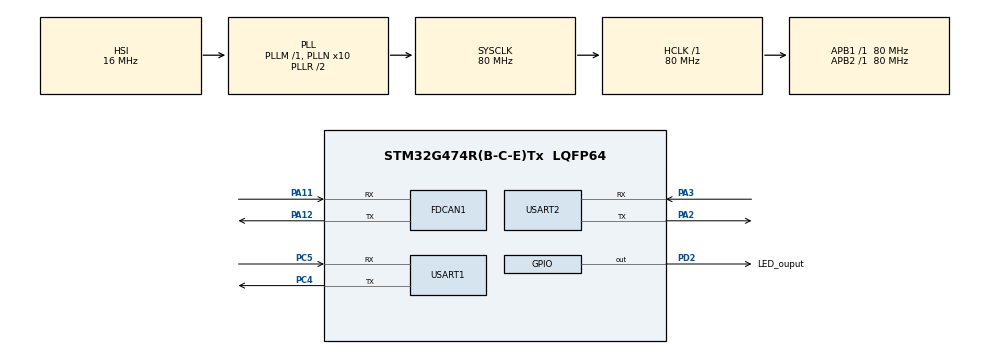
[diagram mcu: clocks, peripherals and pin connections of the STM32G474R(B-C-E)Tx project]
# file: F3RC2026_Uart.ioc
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FDCAN1.CalculateBaudRateNominal=1000000
FDCAN1.CalculateTimeBitNominal=1000
FDCAN1.CalculateTimeQuantumNominal=50.0
FDCAN1.DataPrescaler=2
FDCAN1.DataTimeSeg1=15
FDCAN1.DataTimeSeg2=4
FDCAN1.FrameFormat=FDCAN_FRAME_FD_BRS
FDCAN1.NominalPrescaler=4
FDCAN1.NominalTimeSeg1=15
FDCAN1.NominalTimeSeg2=4
FDCAN1.StdFiltersNbr=1
Mcu.Family=STM32G4
Mcu.Name=STM32G474R(B-C-E)Tx
Mcu.Package=LQFP64
NVIC.PriorityGroup=NVIC_PRIORITYGROUP_4
NVIC.TIM1_TRG_COM_TIM17_IRQn=true\:0\:0\:false\:false\:true\:true\:true\:true
NVIC.TIM1_UP_TIM16_IRQn=true\:0\:0\:false\:false\:true\:true\:true\:true
NVIC.TIM6_DAC_IRQn=true\:0\:0\:false\:false\:true\:true\:true\:true
NVIC.TIM7_DAC_IRQn=true\:0\:0\:false\:false\:true\:true\:true\:true
NVIC.USART1_IRQn=true\:0\:0\:false\:false\:true\:true\:true\:true
PA11.Mode=FDCAN_Activate
PA11.Signal=FDCAN1_RX
PA12.Mode=FDCAN_Activate
PA12.Signal=FDCAN1_TX
PA13.Mode=Serial_Wire
PA13.Signal=SYS_JTMS-SWDIO
PA14.Mode=Serial_Wire
PA14.Signal=SYS_JTCK-SWCLK
PA2.Mode=Asynchronous
PA2.Signal=USART2_TX
PA3.Mode=Asynchronous
PA3.Signal=USART2_RX
PC4.Mode=Asynchronous
PC4.Signal=USART1_TX
PC5.Mode=Asynchronous
PC5.Signal=USART1_RX
PD2.GPIO_Label=LED_ouput
PD2.Signal=GPIO_Output
ProjectManager.HeapSize=0x200
ProjectManager.StackSize=0x400
ProjectManager.TargetToolchain=CMake
RCC.ADC12Freq_Value=80000000
RCC.ADC345Freq_Value=80000000
RCC.AHBFreq_Value=80000000
RCC.APB1Freq_Value=80000000
RCC.APB1TimFreq_Value=80000000
RCC.APB2Freq_Value=80000000
RCC.APB2TimFreq_Value=80000000
RCC.CortexFreq_Value=80000000
RCC.EXTERNAL_CLOCK_VALUE=12288000
RCC.HCLKFreq_Value=80000000
RCC.HSE_VALUE=8000000
RCC.HSI48_VALUE=48000000
RCC.HSI_VALUE=16000000
RCC.LSE_VALUE=32768
RCC.PLLN=10
RCC.SYSCLKFreq_VALUE=80000000
RCC.SYSCLKSource=RCC_SYSCLKSOURCE_PLLCLK
RCC.USBFreq_Value=80000000
RCC.VCOOutputFreq_Value=160000000
TIM16.PeriodNoDither=10000
TIM16.Prescaler=7999
TIM17.PeriodNoDither=10000
TIM17.Prescaler=7999
TIM6.PeriodNoDither=10000
TIM6.Prescaler=79
TIM7.PeriodNoDither=10000
TIM7.Prescaler=7999
USART1.VirtualMode-Asynchronous=VM_ASYNC
USART2.VirtualMode-Asynchronous=VM_ASYNC
VP_SYS_VS_DBSignals.Mode=DisableDeadBatterySignals
VP_TIM16_VS_ClockSourceINT.Mode=Enable_Timer
VP_TIM17_VS_ClockSourceINT.Mode=Enable_Timer
VP_TIM6_VS_ClockSourceINT.Mode=Enable_Timer
VP_TIM7_VS_ClockSourceINT.Mode=Enable_Timer
board=custom

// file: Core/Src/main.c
/* USER CODE BEGIN Header */
/**
  ******************************************************************************
  * @file           : main.c
  * @brief          : Main program body
  ******************************************************************************
  * @attention
  *
  * Copyright (c) 2026 STMicroelectronics.
  * All rights reserved.
  *
  * This software is licensed under terms that can be found in the LICENSE file
  * in the root directory of this software component.
  * If no LICENSE file comes with this software, it is provided AS-IS.
  *
  ******************************************************************************
  */
/* USER CODE END Header */
#include "main.h"

/* USER CODE BEGIN Includes */
#include "stdio.h"
#include "string.h"
/* USER CODE END Includes */

/* USER CODE BEGIN PM */
volatile uint8_t Emergencystate=0;//0：正常　1：異常
volatile uint8_t Emergencyreset=2;

volatile uint32_t uart_timeout = 0;
volatile uint8_t uart_received = 0;//0 :未受信 1:受信済み

volatile uint8_t roll = 0; // 0:通常 1:ロールモード

volatile uint8_t slow = 0; // slowモーション 0:普通 1:スロー
volatile uint8_t slow_count = 0; // slowモーションカウント 0 1

volatile uint8_t stop = 0; // stopモーション 0:普通 1:停止
volatile uint16_t stopCount = 0;

volatile uint32_t recovery_count = 0; // 非常停止中のUART受信カウント（1秒間で90回以上で復帰）
volatile uint32_t recovery_timer = 0; // 非常停止中の1秒ウィンドウ計測用（10ms単位）

uint8_t TxData1[8] = {}; // 足回り基板
uint8_t TxData2[8] = {}; // 回収機構基板
uint8_t TxData3[8] = {}; // IMU

uint8_t buffer[1] = {};
uint8_t size = 1;
int8_t datapos=-1;
uint8_t data[8];
uint16_t FIRSTCANID = 0x300;
uint16_t SECONDCANID = 0x301;

/* USER CODE END PM */

FDCAN_HandleTypeDef hfdcan1;

TIM_HandleTypeDef htim6;
TIM_HandleTypeDef htim7;
TIM_HandleTypeDef htim16;
TIM_HandleTypeDef htim17;

UART_HandleTypeDef huart1;
UART_HandleTypeDef huart2;

/* USER CODE BEGIN PV */
FDCAN_TxHeaderTypeDef TxHeader;

//int8⇔uint8変換用
typedef union {
    int8_t i8;
    uint8_t u8;
} int8_uint8_converter;

int8_uint8_converter iuc[3];
/* USER CODE END PV */

void SystemClock_Config(void);
static void MX_GPIO_Init(void);
static void MX_TIM6_Init(void);
static void MX_USART1_UART_Init(void);
static void MX_USART2_UART_Init(void);
static void MX_FDCAN1_Init(void);
static void MX_TIM7_Init(void);
static void MX_TIM16_Init(void);
static void MX_TIM17_Init(void);

/* USER CODE BEGIN 0 */
int _write(int file, char *ptr, int len)
{
  HAL_UART_Transmit(&huart2,(uint8_t *)ptr,len,10);
   return len;
}
void HAL_UART_RxCpltCallback(UART_HandleTypeDef *huart)
{
    if (huart->Instance == USART1) {

        // --- パケット解析処理（正常時・非常停止時ともに共通で実行） ---
        if (datapos == -1) {
            if (buffer[0] == 0xFF) {
                datapos = 0;
            }
        }
        else if (datapos < 8) {
            if (buffer[0] == 0xFF) {
                datapos = 0; // 途中で0xFFが来たらリセットして再スタート
            } else {
                data[datapos] = buffer[0];
                datapos++;
            }
        }
        else if (datapos == 8) {
            if (buffer[0] == 0xFF) { // ★正常なパケットを1つ受信用完了

                if (Emergencystate == 0) {
                    // 正常動作時：データを更新してCAN送信
                    if (((data[6] >> 2) & 0x01) && (stopCount == 0)) {
                        stop = !stop;     // 0:通常 ⇔ 1:停止 のトグル切り替え
                        stopCount = 1;    // ガード状態（ボタン連続判定防止）に設定

                        // TIM16を初期化してスタート（チャタリング/長押しガード）
                        HAL_TIM_Base_Stop_IT(&htim16);
                        __HAL_TIM_SET_COUNTER(&htim16, 0);
                        __HAL_TIM_CLEAR_FLAG(&htim16, TIM_FLAG_UPDATE);
                        HAL_TIM_Base_Start_IT(&htim16);
                    }

                    if (stop == 1) {
                        // 停止状態の時はモータへの指令値を全ゼロにする
                        memset(TxData1, 0, sizeof(TxData1));
                        memset(TxData2, 0, sizeof(TxData2));

                        uart_received = 1;
                        uart_timeout = 0;

                        // ★ FIFOに2つ以上の空きがある場合のみ送信する
                        if (HAL_FDCAN_GetTxFifoFreeLevel(&hfdcan1) >= 2) {
                            TxHeader.Identifier = 0x105;
                            HAL_FDCAN_AddMessageToTxFifoQ(&hfdcan1, &TxHeader, TxData1);
                            TxHeader.Identifier = 0x205;
                            HAL_FDCAN_AddMessageToTxFifoQ(&hfdcan1, &TxHeader, TxData2);
                        }
                    } else {
                        int8_t val0 = data[3];
                        int8_t val1 = data[5];
                        int16_t val2 = data[2];

                        iuc[0].i8 = (val0 >= -10 && val0 <= 10) ? 0 : val0;
                        iuc[1].i8 = (val1 >= -10 && val1 <= 10) ? 0 : val1;
                        iuc[2].i8 = (val2 >= -10 && val2 <= 10) ? 0 : val2;
                        if (slow == 1) {
                            iuc[0].i8 /= 2;
                            iuc[1].i8 /= 2;
                            iuc[2].i8 /= 2;
                        }

                        TxData1[3] = 0;

                        if ((data[7] >> 1 & 0x01 ) && (roll == 0)){
                          roll = 1;
                          TxData3[0] = 1;

                              // 0x106を1回だけ送信
    if (HAL_FDCAN_GetTxFifoFreeLevel(&hfdcan1) >= 1)
    {
        TxHeader.Identifier = 0x106;
        HAL_FDCAN_AddMessageToTxFifoQ(&hfdcan1, &TxHeader, TxData3);
    }

                          // TIM17を初期化してスタート（ロールモード解除用）
                          HAL_TIM_Base_Stop_IT(&htim17);
                          __HAL_TIM_SET_COUNTER(&htim17, 0);
                          __HAL_TIM_CLEAR_FLAG(&htim17, TIM_FLAG_UPDATE);
                          HAL_TIM_Base_Start_IT(&htim17);
                        }

                        if ((data[7] & 0x01) && (slow_count == 0)) {
                            slow = !slow;
                            slow_count = 1;
                            // TIM7のカウント初期化と再スタート
                            HAL_TIM_Base_Stop_IT(&htim7);               // 一旦停止
                            __HAL_TIM_SET_COUNTER(&htim7, 0);          // カウンタリセット
                            __HAL_TIM_CLEAR_FLAG(&htim7, TIM_FLAG_UPDATE); // ★先行してセットされているフラグをクリア
                            HAL_TIM_Base_Start_IT(&htim7);
                        }

                        TxData1[0] = iuc[0].u8;
                        TxData1[1] = iuc[1].u8;
                        TxData1[2] = iuc[2].u8;  // iuc[2]の値をTxData1[2]に格納

                        // data配列がUART等で受信されたデータ（8バイト）だと仮定

                        // 〇（Circle）の値 (data[7] の bit3 に入っているボタン状態: 0 または 1)
                        TxData2[0] = (data[7] >> 3) & 0x01;
                        // □（Square）の値 (data[7] の bit2 に入っているボタン状態: 0 または 1)
                        TxData2[1] = (data[7] >> 2) & 0x01;
                        // R1 (ボタン状態: data[7] の bit5) -> TxData2[2]
                        TxData2[2] = (data[7] >> 5) & 0x01;
                        // R2 (アナログ値 0〜255: data[0]) -> TxData2[3]
                        if (data[0] > 60)
                            TxData2[3] = 1;
                        else
                            TxData2[3] = 0;
                        // L1 (ボタン状態: data[7] の bit4) -> TxData2[4]
                        TxData2[4] = (data[7] >> 4) & 0x01;
                        // L2 (アナログ値 0〜255: data[1]) -> TxData2[5]
                        if (data[1] > 60)
                            TxData2[5] = 1;
                        else
                            TxData2[5] = 0;
                        // printf("TxData1[0]:%d\r\n", TxData1[0]);
                        // printf("TxData1[1]:%d\r\n", TxData1[1]);
                        // printf("TxData1[2]:%d\r\n", TxData1[2]);
                        // printf("TxData1[3]:%d\r\n", TxData1[3]);
                        // printf("TxData1[4]:%d\r\n", TxData1[4]);
                        // printf("TxData1[5]:%d\r\n", TxData1[5]);
                        // printf("TxData1[6]:%d\r\n", TxData1[6]);
                        // printf("TxData1[7]:%d\r\n", TxData1[7]);
                        // printf("TxData2[0]:%d\r\n", TxData2[0]);
                        // printf("TxData2[1]:%d\r\n", TxData2[1]);
                        // printf("TxData2[2]:%d\r\n", TxData2[2]);
                        // printf("TxData2[3]:%d\r\n", TxData2[3]);
                        // printf("TxData2[4]:%d\r\n", TxData2[4]);
                        // printf("TxData2[5]:%d\r\n", TxData2[5]);
                        // printf("TxData2[6]:%d\r\n", TxData2[6]);
                        // printf("TxData2[7]:%d\r\n", TxData2[7]);
                        uart_received = 1;
                        uart_timeout = 0;

                        if (HAL_FDCAN_GetTxFifoFreeLevel(&hfdcan1) >= 2) {
                            TxHeader.Identifier = 0x105;
                            HAL_FDCAN_AddMessageToTxFifoQ(&hfdcan1, &TxHeader, TxData1);
                            TxHeader.Identifier = 0x205;
                            HAL_FDCAN_AddMessageToTxFifoQ(&hfdcan1, &TxHeader, TxData2);
                        }
                    }
                }
                else if (Emergencystate == 1) {
                    // 非常停止時：正常パケット数をカウント
                    recovery_count++;
                }

                datapos = 0; // 次のパケット開始用
            }
            else {
                datapos = -1; // 不正パケット破棄
            }
        }

        // 次の1バイトを受信
        HAL_UART_Receive_IT(&huart1, buffer, size);
    }
}

void HAL_UART_ErrorCallback(UART_HandleTypeDef *huart)
{
    if (huart->Instance == USART1)
    {
        // エラーフラグ（ORE: オーバーラン, NE: ノイズ, FE: フレーム, PE: パリティ）をクリア
        __HAL_UART_CLEAR_FLAG(huart, UART_CLEAR_OREF | UART_CLEAR_NEF | UART_CLEAR_PEF | UART_CLEAR_FEF);

        // 受信データレジスタのゴミデータを空読みしてフラグを確実に解除
        volatile uint32_t dummy = huart->Instance->RDR;
        (void)dummy;

        datapos = -1;

        // 受信割り込みを再開
        HAL_UART_Receive_IT(&huart1, buffer, size);
    }
}

/* USER CODE END 0 */

int main(void)
{

  /* USER CODE BEGIN 1 */
  setbuf(stdout, NULL);
  /* USER CODE END 1 */

  /* MCU Configuration--------------------------------------------------------*/

  /* Reset of all peripherals, Initializes the Flash interface and the Systick. */
  HAL_Init();

  /* Configure the system clock */
  SystemClock_Config();

  /* Initialize all configured peripherals */
  MX_GPIO_Init();
  MX_TIM6_Init();
  MX_USART1_UART_Init();
  MX_USART2_UART_Init();
  MX_FDCAN1_Init();
  MX_TIM7_Init();
  MX_TIM16_Init();
  MX_TIM17_Init();
  /* USER CODE BEGIN 2 */
  // デバッグ停止中（ブレークポイント時）にタイマがカウントアップして割り込みが乱発するのを防ぐ
  __HAL_DBGMCU_FREEZE_TIM6();
  __HAL_DBGMCU_FREEZE_TIM7();
  __HAL_DBGMCU_FREEZE_TIM16();
  __HAL_DBGMCU_FREEZE_TIM17();

  // UART初期化時の残留エラーフラグをクリア
  __HAL_UART_CLEAR_FLAG(&huart1, UART_CLEAR_OREF | UART_CLEAR_NEF | UART_CLEAR_PEF | UART_CLEAR_FEF);
  HAL_UART_Receive_IT(&huart1, buffer, size);
  HAL_TIM_Base_Start_IT(&htim6);

  TxHeader.Identifier = 0x105;                 // メッセージID (0x105)
  TxHeader.IdType = FDCAN_STANDARD_ID;         // 標準ID (11ビット)
  TxHeader.TxFrameType = FDCAN_DATA_FRAME;     // データフレーム
  TxHeader.DataLength = FDCAN_DLC_BYTES_8;     // 8バイト送信
  TxHeader.ErrorStateIndicator = FDCAN_ESI_ACTIVE;
  TxHeader.BitRateSwitch = FDCAN_BRS_OFF;      // ビットレート切り替えなし
  TxHeader.FDFormat = FDCAN_CLASSIC_CAN;       // ※通常のCAN通信の場合 (FD通信なら FDCAN_FD_CAN にします)
  TxHeader.TxEventFifoControl = FDCAN_NO_TX_EVENTS;
  TxHeader.MessageMarker = 0;
  // 2. FDCAN通信の開始
  HAL_FDCAN_Start(&hfdcan1);
  /* USER CODE END 2 */

  /* Infinite loop */
  /* USER CODE BEGIN WHILE */
  while (1)
  {
    HAL_Delay(1000);
    /* USER CODE END WHILE */

  }
}

void SystemClock_Config(void)
{
  RCC_OscInitTypeDef RCC_OscInitStruct = {0};
  RCC_ClkInitTypeDef RCC_ClkInitStruct = {0};

  /** Configure the main internal regulator output voltage
  */
  HAL_PWREx_ControlVoltageScaling(PWR_REGULATOR_VOLTAGE_SCALE1);

  /** Initializes the RCC Oscillators according to the specified parameters
  * in the RCC_OscInitTypeDef structure.
  */
  RCC_OscInitStruct.OscillatorType = RCC_OSCILLATORTYPE_HSI;
  RCC_OscInitStruct.HSIState = RCC_HSI_ON;
  RCC_OscInitStruct.HSICalibrationValue = RCC_HSICALIBRATION_DEFAULT;
  RCC_OscInitStruct.PLL.PLLState = RCC_PLL_ON;
  RCC_OscInitStruct.PLL.PLLSource = RCC_PLLSOURCE_HSI;
  RCC_OscInitStruct.PLL.PLLM = RCC_PLLM_DIV1;
  RCC_OscInitStruct.PLL.PLLN = 10;
  RCC_OscInitStruct.PLL.PLLP = RCC_PLLP_DIV2;
  RCC_OscInitStruct.PLL.PLLQ = RCC_PLLQ_DIV2;
  RCC_OscInitStruct.PLL.PLLR = RCC_PLLR_DIV2;
  if (HAL_RCC_OscConfig(&RCC_OscInitStruct) != HAL_OK)
  {
    Error_Handler();
  }

  /** Initializes the CPU, AHB and APB buses clocks
  */
  RCC_ClkInitStruct.ClockType = RCC_CLOCKTYPE_HCLK|RCC_CLOCKTYPE_SYSCLK
                              |RCC_CLOCKTYPE_PCLK1|RCC_CLOCKTYPE_PCLK2;
  RCC_ClkInitStruct.SYSCLKSource = RCC_SYSCLKSOURCE_PLLCLK;
  RCC_ClkInitStruct.AHBCLKDivider = RCC_SYSCLK_DIV1;
  RCC_ClkInitStruct.APB1CLKDivider = RCC_HCLK_DIV1;
  RCC_ClkInitStruct.APB2CLKDivider = RCC_HCLK_DIV1;

  if (HAL_RCC_ClockConfig(&RCC_ClkInitStruct, FLASH_LATENCY_2) != HAL_OK)
  {
    Error_Handler();
  }
}

static void MX_FDCAN1_Init(void)
{

  hfdcan1.Instance = FDCAN1;
  hfdcan1.Init.ClockDivider = FDCAN_CLOCK_DIV1;
  hfdcan1.Init.FrameFormat = FDCAN_FRAME_FD_BRS;
  hfdcan1.Init.Mode = FDCAN_MODE_NORMAL;
  hfdcan1.Init.AutoRetransmission = DISABLE;
  hfdcan1.Init.TransmitPause = DISABLE;
  hfdcan1.Init.ProtocolException = DISABLE;
  hfdcan1.Init.NominalPrescaler = 4;
  hfdcan1.Init.NominalSyncJumpWidth = 1;
  hfdcan1.Init.NominalTimeSeg1 = 15;
  hfdcan1.Init.NominalTimeSeg2 = 4;
  hfdcan1.Init.DataPrescaler = 2;
  hfdcan1.Init.DataSyncJumpWidth = 1;
  hfdcan1.Init.DataTimeSeg1 = 15;
  hfdcan1.Init.DataTimeSeg2 = 4;
  hfdcan1.Init.StdFiltersNbr = 1;
  hfdcan1.Init.ExtFiltersNbr = 0;
  hfdcan1.Init.TxFifoQueueMode = FDCAN_TX_FIFO_OPERATION;
  if (HAL_FDCAN_Init(&hfdcan1) != HAL_OK)
  {
    Error_Handler();
  }

}

static void MX_TIM6_Init(void)
{

  TIM_MasterConfigTypeDef sMasterConfig = {0};

  htim6.Instance = TIM6;
  htim6.Init.Prescaler = 79;
  htim6.Init.CounterMode = TIM_COUNTERMODE_UP;
  htim6.Init.Period = 10000;
  htim6.Init.AutoReloadPreload = TIM_AUTORELOAD_PRELOAD_DISABLE;
  if (HAL_TIM_Base_Init(&htim6) != HAL_OK)
  {
    Error_Handler();
  }
  sMasterConfig.MasterOutputTrigger = TIM_TRGO_RESET;
  sMasterConfig.MasterSlaveMode = TIM_MASTERSLAVEMODE_DISABLE;
  if (HAL_TIMEx_MasterConfigSynchronization(&htim6, &sMasterConfig) != HAL_OK)
  {
    Error_Handler();
  }

}

static void MX_TIM7_Init(void)
{

  TIM_MasterConfigTypeDef sMasterConfig = {0};

  htim7.Instance = TIM7;
  htim7.Init.Prescaler = 7999;
  htim7.Init.CounterMode = TIM_COUNTERMODE_UP;
  htim7.Init.Period = 10000;
  htim7.Init.AutoReloadPreload = TIM_AUTORELOAD_PRELOAD_DISABLE;
  if (HAL_TIM_Base_Init(&htim7) != HAL_OK)
  {
    Error_Handler();
  }
  sMasterConfig.MasterOutputTrigger = TIM_TRGO_RESET;
  sMasterConfig.MasterSlaveMode = TIM_MASTERSLAVEMODE_DISABLE;
  if (HAL_TIMEx_MasterConfigSynchronization(&htim7, &sMasterConfig) != HAL_OK)
  {
    Error_Handler();
  }

}

static void MX_TIM16_Init(void)
{

  htim16.Instance = TIM16;
  htim16.Init.Prescaler = 7999;
  htim16.Init.CounterMode = TIM_COUNTERMODE_UP;
  htim16.Init.Period = 10000;
  htim16.Init.ClockDivision = TIM_CLOCKDIVISION_DIV1;
  htim16.Init.RepetitionCounter = 0;
  htim16.Init.AutoReloadPreload = TIM_AUTORELOAD_PRELOAD_DISABLE;
  if (HAL_TIM_Base_Init(&htim16) != HAL_OK)
  {
    Error_Handler();
  }

}

static void MX_TIM17_Init(void)
{

  htim17.Instance = TIM17;
  htim17.Init.Prescaler = 7999;
  htim17.Init.CounterMode = TIM_COUNTERMODE_UP;
  htim17.Init.Period = 10000;
  htim17.Init.ClockDivision = TIM_CLOCKDIVISION_DIV1;
  htim17.Init.RepetitionCounter = 0;
  htim17.Init.AutoReloadPreload = TIM_AUTORELOAD_PRELOAD_DISABLE;
  if (HAL_TIM_Base_Init(&htim17) != HAL_OK)
  {
    Error_Handler();
  }

}

static void MX_USART1_UART_Init(void)
{

  huart1.Instance = USART1;
  huart1.Init.BaudRate = 115200;
  huart1.Init.WordLength = UART_WORDLENGTH_8B;
  huart1.Init.StopBits = UART_STOPBITS_1;
  huart1.Init.Parity = UART_PARITY_NONE;
  huart1.Init.Mode = UART_MODE_TX_RX;
  huart1.Init.HwFlowCtl = UART_HWCONTROL_NONE;
  huart1.Init.OverSampling = UART_OVERSAMPLING_16;
  huart1.Init.OneBitSampling = UART_ONE_BIT_SAMPLE_DISABLE;
  huart1.Init.ClockPrescaler = UART_PRESCALER_DIV1;
  huart1.AdvancedInit.AdvFeatureInit = UART_ADVFEATURE_NO_INIT;
  if (HAL_UART_Init(&huart1) != HAL_OK)
  {
    Error_Handler();
  }
  if (HAL_UARTEx_SetTxFifoThreshold(&huart1, UART_TXFIFO_THRESHOLD_1_8) != HAL_OK)
  {
    Error_Handler();
  }
  if (HAL_UARTEx_SetRxFifoThreshold(&huart1, UART_RXFIFO_THRESHOLD_1_8) != HAL_OK)
  {
    Error_Handler();
  }
  if (HAL_UARTEx_DisableFifoMode(&huart1) != HAL_OK)
  {
    Error_Handler();
  }

}

static void MX_USART2_UART_Init(void)
{

  huart2.Instance = USART2;
  huart2.Init.BaudRate = 115200;
  huart2.Init.WordLength = UART_WORDLENGTH_8B;
  huart2.Init.StopBits = UART_STOPBITS_1;
  huart2.Init.Parity = UART_PARITY_NONE;
  huart2.Init.Mode = UART_MODE_TX_RX;
  huart2.Init.HwFlowCtl = UART_HWCONTROL_NONE;
  huart2.Init.OverSampling = UART_OVERSAMPLING_16;
  huart2.Init.OneBitSampling = UART_ONE_BIT_SAMPLE_DISABLE;
  huart2.Init.ClockPrescaler = UART_PRESCALER_DIV1;
  huart2.AdvancedInit.AdvFeatureInit = UART_ADVFEATURE_NO_INIT;
  if (HAL_UART_Init(&huart2) != HAL_OK)
  {
    Error_Handler();
  }
  if (HAL_UARTEx_SetTxFifoThreshold(&huart2, UART_TXFIFO_THRESHOLD_1_8) != HAL_OK)
  {
    Error_Handler();
  }
  if (HAL_UARTEx_SetRxFifoThreshold(&huart2, UART_RXFIFO_THRESHOLD_1_8) != HAL_OK)
  {
    Error_Handler();
  }
  if (HAL_UARTEx_DisableFifoMode(&huart2) != HAL_OK)
  {
    Error_Handler();
  }

}

static void MX_GPIO_Init(void)
{
  GPIO_InitTypeDef GPIO_InitStruct = {0};

  /* GPIO Ports Clock Enable */
  __HAL_RCC_GPIOA_CLK_ENABLE();
  __HAL_RCC_GPIOC_CLK_ENABLE();
  __HAL_RCC_GPIOD_CLK_ENABLE();

  /*Configure GPIO pin Output Level */
  HAL_GPIO_WritePin(LED_ouput_GPIO_Port, LED_ouput_Pin, GPIO_PIN_RESET);

  /*Configure GPIO pin : LED_ouput_Pin */
  GPIO_InitStruct.Pin = LED_ouput_Pin;
  GPIO_InitStruct.Mode = GPIO_MODE_OUTPUT_PP;
  GPIO_InitStruct.Pull = GPIO_NOPULL;
  GPIO_InitStruct.Speed = GPIO_SPEED_FREQ_LOW;
  HAL_GPIO_Init(LED_ouput_GPIO_Port, &GPIO_InitStruct);

}

/* USER CODE BEGIN 4 */
void HAL_TIM_PeriodElapsedCallback(TIM_HandleTypeDef *htim)
{
    if (htim->Instance == TIM6)
    {
        if (Emergencystate == 0)
        {
            // 正常時：タイムアウト検出
            if (uart_received == 1)
            {
                uart_timeout++;

                // UARTから約1秒データが来なかった → 非常停止
                // TIM6は10ms周期なので、100回 = 1秒
                if (uart_timeout >= 100)
                {
                    Emergencystate = 1;
                    recovery_count = 0; // 復帰カウンタリセット
                    recovery_timer = 0; // 1秒ウィンドウタイマーリセット
                    datapos = -1;       // パケット受信状態リセット

                    // モータ停止用ゼロデータをCAN送信
                    for (int i = 0; i < 8; i++)
                    {
                        TxData1[i] = 0;
                        TxData2[i] = 0;
                    }
                    TxHeader.Identifier = 0x105;
                    HAL_FDCAN_AddMessageToTxFifoQ(&hfdcan1, &TxHeader, TxData1);
                    TxHeader.Identifier = 0x205;
                    HAL_FDCAN_AddMessageToTxFifoQ(&hfdcan1, &TxHeader, TxData2);
                }
            }
        }
        else if (Emergencystate == 1)
        {
            // 非常停止中：1秒ウィンドウで復帰判定
            recovery_timer++;

            if (recovery_timer >= 100) // 100回 × 10ms = 1秒経過
            {
                if (recovery_count >= 90)
                {
                    // 1秒間に90回以上UART受信 → 復帰
                    Emergencystate = 0;
                    uart_timeout = 0;
                    uart_received = 0;
                    datapos = -1;
                    recovery_count = 0;
                    recovery_timer = 0;
                }
                else
                {
                    // 90回未満 → 非常停止継続、カウンタリセットして次の1秒を計測
                    recovery_count = 0;
                    recovery_timer = 0;

                    // 非常停止中もモータ停止用ゼロデータを定期送信
                    for (int i = 0; i < 8; i++)
                    {
                        TxData1[i] = 0;
                        TxData2[i] = 0;
                    }
                    TxHeader.Identifier = 0x105;
                    HAL_FDCAN_AddMessageToTxFifoQ(&hfdcan1, &TxHeader, TxData1);
                    TxHeader.Identifier = 0x205;
                    HAL_FDCAN_AddMessageToTxFifoQ(&hfdcan1, &TxHeader, TxData2);
                }
            }
        }
    }
  else if (htim->Instance == TIM7)
  {
    slow_count = 0;
    // 指定時間経過したらタイマーを停止し、切替受付を解禁
    HAL_TIM_Base_Stop_IT(&htim7);

  }
  else if (htim->Instance == TIM16)
  {
    stopCount = 0;
    // 指定時間経過したらタイマーを停止し、切替受付を解禁
    HAL_TIM_Base_Stop_IT(&htim16);
  }
  else if (htim->Instance == TIM17)
  {
    // TIM17の割り込み処理
    roll = 0; // ロールモードを解除
    // ここにTIM17の割り込み時の処理を追加する
  }
}
/* USER CODE END 4 */

void Error_Handler(void)
{
  __disable_irq();
  while (1)
  {
  }
}
